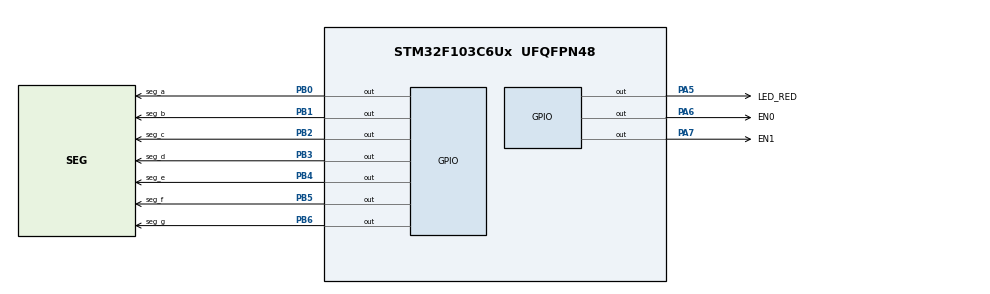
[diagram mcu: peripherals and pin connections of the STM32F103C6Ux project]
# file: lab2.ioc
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Mcu.Family=STM32F1
Mcu.Name=STM32F103C6Ux
Mcu.Package=UFQFPN48
NVIC.PriorityGroup=NVIC_PRIORITYGROUP_4
NVIC.TIM2_IRQn=true\:0\:0\:false\:false\:true\:true\:true
PA5.GPIO_Label=LED_RED
PA5.Signal=GPIO_Output
PA6.GPIO_Label=EN0
PA6.Signal=GPIO_Output
PA7.GPIO_Label=EN1
PA7.Signal=GPIO_Output
PB0.GPIO_Label=seg_a
PB0.Signal=GPIO_Output
PB1.GPIO_Label=seg_b
PB1.Signal=GPIO_Output
PB2.GPIO_Label=seg_c
PB2.Signal=GPIO_Output
PB3.GPIO_Label=seg_d
PB3.Signal=GPIO_Output
PB4.GPIO_Label=seg_e
PB4.Signal=GPIO_Output
PB5.GPIO_Label=seg_f
PB5.Signal=GPIO_Output
PB6.GPIO_Label=seg_g
PB6.Signal=GPIO_Output
ProjectManager.HeapSize=0x200
ProjectManager.StackSize=0x400
ProjectManager.TargetToolchain=STM32CubeIDE
RCC.APB1Freq_Value=8000000
RCC.APB2Freq_Value=8000000
TIM2.Period=9
TIM2.Prescaler=7999
VP_SYS_VS_ND.Mode=No_Debug
VP_TIM2_VS_ClockSourceINT.Mode=Internal
board=custom

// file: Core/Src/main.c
/* USER CODE BEGIN Header */
/**
  ******************************************************************************
  * @file           : main.c
  * @brief          : Main program body
  ******************************************************************************
  * @attention
  *
  * <h2><center>&copy; Copyright (c) 2025 STMicroelectronics.
  * All rights reserved.</center></h2>
  *
  * This software component is licensed by ST under BSD 3-Clause license,
  * the "License"; You may not use this file except in compliance with the
  * License. You may obtain a copy of the License at:
  *                        opensource.org/licenses/BSD-3-Clause
  *
  ******************************************************************************
  */
/* USER CODE END Header */
#include "main.h"

TIM_HandleTypeDef htim2;

void SystemClock_Config(void);
static void MX_GPIO_Init(void);
static void MX_TIM2_Init(void);

int main(void)
{

  /* MCU Configuration--------------------------------------------------------*/

  /* Reset of all peripherals, Initializes the Flash interface and the Systick. */
  HAL_Init();

  /* Configure the system clock */
  SystemClock_Config();

  /* Initialize all configured peripherals */
  MX_GPIO_Init();
  MX_TIM2_Init();
  /* USER CODE BEGIN 2 */
  HAL_TIM_Base_Start_IT (& htim2 ) ;
  /* USER CODE END 2 */

  /* Infinite loop */
  while (1)
  {

  }
}

void SystemClock_Config(void)
{
  RCC_OscInitTypeDef RCC_OscInitStruct = {0};
  RCC_ClkInitTypeDef RCC_ClkInitStruct = {0};

  /** Initializes the RCC Oscillators according to the specified parameters
  * in the RCC_OscInitTypeDef structure.
  */
  RCC_OscInitStruct.OscillatorType = RCC_OSCILLATORTYPE_HSI;
  RCC_OscInitStruct.HSIState = RCC_HSI_ON;
  RCC_OscInitStruct.HSICalibrationValue = RCC_HSICALIBRATION_DEFAULT;
  RCC_OscInitStruct.PLL.PLLState = RCC_PLL_NONE;
  if (HAL_RCC_OscConfig(&RCC_OscInitStruct) != HAL_OK)
  {
    Error_Handler();
  }
  /** Initializes the CPU, AHB and APB buses clocks
  */
  RCC_ClkInitStruct.ClockType = RCC_CLOCKTYPE_HCLK|RCC_CLOCKTYPE_SYSCLK
                              |RCC_CLOCKTYPE_PCLK1|RCC_CLOCKTYPE_PCLK2;
  RCC_ClkInitStruct.SYSCLKSource = RCC_SYSCLKSOURCE_HSI;
  RCC_ClkInitStruct.AHBCLKDivider = RCC_SYSCLK_DIV1;
  RCC_ClkInitStruct.APB1CLKDivider = RCC_HCLK_DIV1;
  RCC_ClkInitStruct.APB2CLKDivider = RCC_HCLK_DIV1;

  if (HAL_RCC_ClockConfig(&RCC_ClkInitStruct, FLASH_LATENCY_0) != HAL_OK)
  {
    Error_Handler();
  }
}

static void MX_TIM2_Init(void)
{

  TIM_ClockConfigTypeDef sClockSourceConfig = {0};
  TIM_MasterConfigTypeDef sMasterConfig = {0};

  htim2.Instance = TIM2;
  htim2.Init.Prescaler = 7999;
  htim2.Init.CounterMode = TIM_COUNTERMODE_UP;
  htim2.Init.Period = 9;
  htim2.Init.ClockDivision = TIM_CLOCKDIVISION_DIV1;
  htim2.Init.AutoReloadPreload = TIM_AUTORELOAD_PRELOAD_DISABLE;
  if (HAL_TIM_Base_Init(&htim2) != HAL_OK)
  {
    Error_Handler();
  }
  sClockSourceConfig.ClockSource = TIM_CLOCKSOURCE_INTERNAL;
  if (HAL_TIM_ConfigClockSource(&htim2, &sClockSourceConfig) != HAL_OK)
  {
    Error_Handler();
  }
  sMasterConfig.MasterOutputTrigger = TIM_TRGO_RESET;
  sMasterConfig.MasterSlaveMode = TIM_MASTERSLAVEMODE_DISABLE;
  if (HAL_TIMEx_MasterConfigSynchronization(&htim2, &sMasterConfig) != HAL_OK)
  {
    Error_Handler();
  }

}

static void MX_GPIO_Init(void)
{
  GPIO_InitTypeDef GPIO_InitStruct = {0};

  /* GPIO Ports Clock Enable */
  __HAL_RCC_GPIOA_CLK_ENABLE();
  __HAL_RCC_GPIOB_CLK_ENABLE();

  /*Configure GPIO pin Output Level */
  HAL_GPIO_WritePin(GPIOA, LED_RED_Pin|EN0_Pin|EN1_Pin, GPIO_PIN_RESET);

  /*Configure GPIO pin Output Level */
  HAL_GPIO_WritePin(GPIOB, seg_a_Pin|seg_b_Pin|seg_c_Pin|seg_d_Pin
                          |seg_e_Pin|seg_f_Pin|seg_g_Pin, GPIO_PIN_RESET);

  /*Configure GPIO pins : LED_RED_Pin EN0_Pin EN1_Pin */
  GPIO_InitStruct.Pin = LED_RED_Pin|EN0_Pin|EN1_Pin;
  GPIO_InitStruct.Mode = GPIO_MODE_OUTPUT_PP;
  GPIO_InitStruct.Pull = GPIO_NOPULL;
  GPIO_InitStruct.Speed = GPIO_SPEED_FREQ_LOW;
  HAL_GPIO_Init(GPIOA, &GPIO_InitStruct);

  /*Configure GPIO pins : seg_a_Pin seg_b_Pin seg_c_Pin seg_d_Pin
                           seg_e_Pin seg_f_Pin seg_g_Pin */
  GPIO_InitStruct.Pin = seg_a_Pin|seg_b_Pin|seg_c_Pin|seg_d_Pin
                          |seg_e_Pin|seg_f_Pin|seg_g_Pin;
  GPIO_InitStruct.Mode = GPIO_MODE_OUTPUT_PP;
  GPIO_InitStruct.Pull = GPIO_NOPULL;
  GPIO_InitStruct.Speed = GPIO_SPEED_FREQ_LOW;
  HAL_GPIO_Init(GPIOB, &GPIO_InitStruct);

}

/* USER CODE BEGIN 4 */
void display7SEG(int num) {
	// First, turn all off
	HAL_GPIO_WritePin(seg_a_GPIO_Port, seg_a_Pin, GPIO_PIN_SET);
	HAL_GPIO_WritePin(seg_b_GPIO_Port, seg_b_Pin, GPIO_PIN_SET);
	HAL_GPIO_WritePin(seg_c_GPIO_Port, seg_c_Pin, GPIO_PIN_SET);
	HAL_GPIO_WritePin(seg_d_GPIO_Port, seg_d_Pin, GPIO_PIN_SET);
	HAL_GPIO_WritePin(seg_e_GPIO_Port, seg_e_Pin, GPIO_PIN_SET);
	HAL_GPIO_WritePin(seg_f_GPIO_Port, seg_f_Pin, GPIO_PIN_SET);
	HAL_GPIO_WritePin(seg_g_GPIO_Port, seg_g_Pin, GPIO_PIN_SET);

	switch (num) {
	  case 0:
		  HAL_GPIO_WritePin(seg_a_GPIO_Port, seg_a_Pin, GPIO_PIN_RESET);
		  HAL_GPIO_WritePin(seg_b_GPIO_Port, seg_b_Pin, GPIO_PIN_RESET);
		  HAL_GPIO_WritePin(seg_c_GPIO_Port, seg_c_Pin, GPIO_PIN_RESET);
		  HAL_GPIO_WritePin(seg_d_GPIO_Port, seg_d_Pin, GPIO_PIN_RESET);
		  HAL_GPIO_WritePin(seg_e_GPIO_Port, seg_e_Pin, GPIO_PIN_RESET);
		  HAL_GPIO_WritePin(seg_f_GPIO_Port, seg_f_Pin, GPIO_PIN_RESET);
		  break;
	  case 1:
		  HAL_GPIO_WritePin(seg_b_GPIO_Port, seg_b_Pin, GPIO_PIN_RESET);
		  HAL_GPIO_WritePin(seg_c_GPIO_Port, seg_c_Pin, GPIO_PIN_RESET);
		  break;
	  case 2:
		  HAL_GPIO_WritePin(seg_a_GPIO_Port, seg_a_Pin, GPIO_PIN_RESET);
		  HAL_GPIO_WritePin(seg_b_GPIO_Port, seg_b_Pin, GPIO_PIN_RESET);
		  HAL_GPIO_WritePin(seg_d_GPIO_Port, seg_d_Pin, GPIO_PIN_RESET);
		  HAL_GPIO_WritePin(seg_e_GPIO_Port, seg_e_Pin, GPIO_PIN_RESET);
		  HAL_GPIO_WritePin(seg_g_GPIO_Port, seg_g_Pin, GPIO_PIN_RESET);
		  break;
	  case 3:
		  HAL_GPIO_WritePin(seg_a_GPIO_Port, seg_a_Pin, GPIO_PIN_RESET);
		  HAL_GPIO_WritePin(seg_b_GPIO_Port, seg_b_Pin, GPIO_PIN_RESET);
		  HAL_GPIO_WritePin(seg_c_GPIO_Port, seg_c_Pin, GPIO_PIN_RESET);
		  HAL_GPIO_WritePin(seg_d_GPIO_Port, seg_d_Pin, GPIO_PIN_RESET);
		  HAL_GPIO_WritePin(seg_g_GPIO_Port, seg_g_Pin, GPIO_PIN_RESET);
		  break;
	  case 4:
		  HAL_GPIO_WritePin(seg_b_GPIO_Port, seg_b_Pin, GPIO_PIN_RESET);
		  HAL_GPIO_WritePin(seg_c_GPIO_Port, seg_c_Pin, GPIO_PIN_RESET);
		  HAL_GPIO_WritePin(seg_f_GPIO_Port, seg_f_Pin, GPIO_PIN_RESET);
		  HAL_GPIO_WritePin(seg_g_GPIO_Port, seg_g_Pin, GPIO_PIN_RESET);
		  break;
	  case 5:
		  HAL_GPIO_WritePin(seg_a_GPIO_Port, seg_a_Pin, GPIO_PIN_RESET);
		  HAL_GPIO_WritePin(seg_c_GPIO_Port, seg_c_Pin, GPIO_PIN_RESET);
		  HAL_GPIO_WritePin(seg_d_GPIO_Port, seg_d_Pin, GPIO_PIN_RESET);
		  HAL_GPIO_WritePin(seg_f_GPIO_Port, seg_f_Pin, GPIO_PIN_RESET);
		  HAL_GPIO_WritePin(seg_g_GPIO_Port, seg_g_Pin, GPIO_PIN_RESET);
		  break;
	  case 6:
		  HAL_GPIO_WritePin(seg_a_GPIO_Port, seg_a_Pin, GPIO_PIN_RESET);
		  HAL_GPIO_WritePin(seg_c_GPIO_Port, seg_c_Pin, GPIO_PIN_RESET);
		  HAL_GPIO_WritePin(seg_d_GPIO_Port, seg_d_Pin, GPIO_PIN_RESET);
		  HAL_GPIO_WritePin(seg_e_GPIO_Port, seg_e_Pin, GPIO_PIN_RESET);
		  HAL_GPIO_WritePin(seg_f_GPIO_Port, seg_f_Pin, GPIO_PIN_RESET);
		  HAL_GPIO_WritePin(seg_g_GPIO_Port, seg_g_Pin, GPIO_PIN_RESET);
		  break;
	  case 7:
		  HAL_GPIO_WritePin(seg_a_GPIO_Port, seg_a_Pin, GPIO_PIN_RESET);
		  HAL_GPIO_WritePin(seg_b_GPIO_Port, seg_b_Pin, GPIO_PIN_RESET);
		  HAL_GPIO_WritePin(seg_c_GPIO_Port, seg_c_Pin, GPIO_PIN_RESET);
		  break;
	  case 8:
		  HAL_GPIO_WritePin(seg_a_GPIO_Port, seg_a_Pin, GPIO_PIN_RESET);
		  HAL_GPIO_WritePin(seg_b_GPIO_Port, seg_b_Pin, GPIO_PIN_RESET);
		  HAL_GPIO_WritePin(seg_c_GPIO_Port, seg_c_Pin, GPIO_PIN_RESET);
		  HAL_GPIO_WritePin(seg_d_GPIO_Port, seg_d_Pin, GPIO_PIN_RESET);
		  HAL_GPIO_WritePin(seg_e_GPIO_Port, seg_e_Pin, GPIO_PIN_RESET);
		  HAL_GPIO_WritePin(seg_f_GPIO_Port, seg_f_Pin, GPIO_PIN_RESET);
		  HAL_GPIO_WritePin(seg_g_GPIO_Port, seg_g_Pin, GPIO_PIN_RESET);
		  break;
	  case 9:
		  HAL_GPIO_WritePin(seg_a_GPIO_Port, seg_a_Pin, GPIO_PIN_RESET);
		  HAL_GPIO_WritePin(seg_b_GPIO_Port, seg_b_Pin, GPIO_PIN_RESET);
		  HAL_GPIO_WritePin(seg_c_GPIO_Port, seg_c_Pin, GPIO_PIN_RESET);
		  HAL_GPIO_WritePin(seg_d_GPIO_Port, seg_d_Pin, GPIO_PIN_RESET);
		  HAL_GPIO_WritePin(seg_f_GPIO_Port, seg_f_Pin, GPIO_PIN_RESET);
		  HAL_GPIO_WritePin(seg_g_GPIO_Port, seg_g_Pin, GPIO_PIN_RESET);
		  break;
	}
}
int counter = 100;
void HAL_TIM_PeriodElapsedCallback ( TIM_HandleTypeDef * htim ){
	counter--;
	if(counter == 50){
		HAL_GPIO_WritePin(EN0_GPIO_Port, EN0_Pin, GPIO_PIN_RESET);
		HAL_GPIO_WritePin(EN1_GPIO_Port, EN1_Pin, GPIO_PIN_SET);
		display7SEG(1);
	}
	if( counter <= 0) {
		counter = 100;
		HAL_GPIO_WritePin(EN0_GPIO_Port, EN0_Pin, GPIO_PIN_SET);
		HAL_GPIO_WritePin(EN1_GPIO_Port, EN1_Pin, GPIO_PIN_RESET);
		display7SEG(2);
		HAL_GPIO_TogglePin ( LED_RED_GPIO_Port , LED_RED_Pin );
	}
}
/* USER CODE END 4 */

void Error_Handler(void)
{
  __disable_irq();
  while (1)
  {
  }
}

/************************ (C) COPYRIGHT STMicroelectronics *****END OF FILE****/
